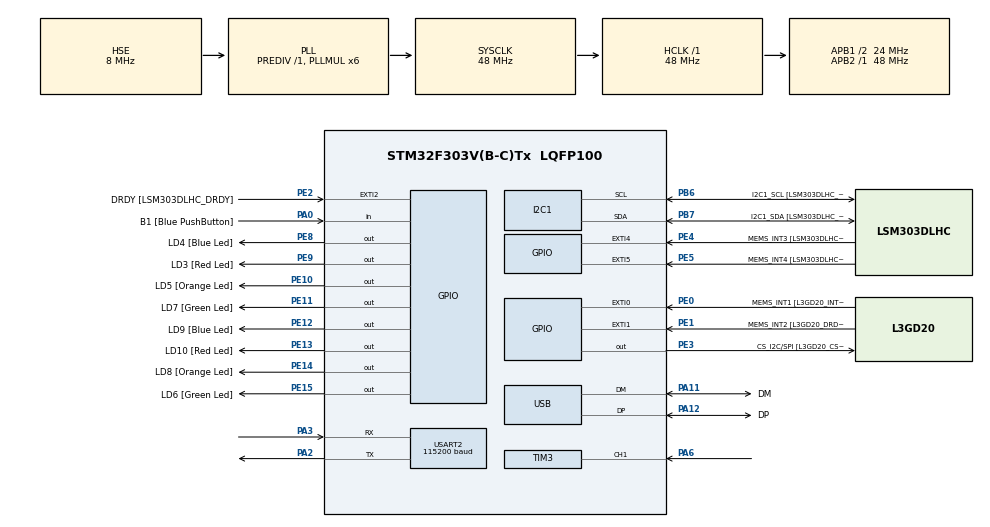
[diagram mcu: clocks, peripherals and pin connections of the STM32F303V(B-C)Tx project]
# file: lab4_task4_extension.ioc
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I2C1.Timing=0x2000090E
I2C1.Timing-I2C=0x2000090E
Mcu.Family=STM32F3
Mcu.Name=STM32F303V(B-C)Tx
Mcu.Package=LQFP100
NVIC.PriorityGroup=NVIC_PRIORITYGROUP_0
NVIC.TIM3_IRQn=true\:0\:0\:false\:false\:true\:true\:true\:true
PA0.GPIO_Label=B1 [Blue PushButton]
PA0.Signal=GPIO_Input
PA11.GPIO_Label=DM
PA11.Mode=Device
PA11.Signal=USB_DM
PA12.GPIO_Label=DP
PA12.Mode=Device
PA12.Signal=USB_DP
PA13.GPIO_Label=SWDIO
PA13.Mode=Serial_Wire
PA13.Signal=SYS_JTMS-SWDIO
PA14.GPIO_Label=SWCLK
PA14.Mode=Serial_Wire
PA14.Signal=SYS_JTCK-SWCLK
PA2.Mode=Asynchronous
PA2.Signal=USART2_TX
PA3.Mode=Asynchronous
PA3.Signal=USART2_RX
PA5.GPIO_Label=SPI1_SCK [L3GD20_SCL/SPC]
PA5.Signal=SPI1_SCK
PA6.Signal=S_TIM3_CH1
PA7.GPIO_Label=SPI1_MISO [L3GD20_SDA/SDI/SDO]
PA7.Signal=SPI1_MOSI
PB3.GPIO_Label=SWO
PB3.Signal=SYS_JTDO-TRACESWO
PB6.GPIO_Label=I2C1_SCL [LSM303DLHC_SCL]
PB6.GPIO_Pu=GPIO_PULLUP
PB6.Mode=I2C
PB6.Signal=I2C1_SCL
PB7.GPIO_Label=I2C1_SDA [LSM303DLHC_SDA]
PB7.GPIO_Pu=GPIO_PULLUP
PB7.Mode=I2C
PB7.Signal=I2C1_SDA
PC14-OSC32_IN.GPIO_Label=OSC32_IN
PC14-OSC32_IN.Signal=RCC_OSC32_IN
PC15-OSC32_OUT.GPIO_Label=OSC32_OUT
PC15-OSC32_OUT.Signal=RCC_OSC32_OUT
PE0.GPIO_Label=MEMS_INT1 [L3GD20_INT1]
PE0.GPIO_ModeDefaultEXTI=GPIO_MODE_EVT_RISING
PE0.Signal=GPXTI0
PE1.GPIO_Label=MEMS_INT2 [L3GD20_DRDY/INT2]
PE1.GPIO_ModeDefaultEXTI=GPIO_MODE_EVT_RISING
PE1.Signal=GPXTI1
PE10.GPIO_Label=LD5 [Orange Led]
PE10.Signal=GPIO_Output
PE11.GPIO_Label=LD7 [Green Led]
PE11.Signal=GPIO_Output
PE12.GPIO_Label=LD9 [Blue Led]
PE12.Signal=GPIO_Output
PE13.GPIO_Label=LD10 [Red Led]
PE13.Signal=GPIO_Output
PE14.GPIO_Label=LD8 [Orange Led]
PE14.Signal=GPIO_Output
PE15.GPIO_Label=LD6 [Green Led]
PE15.Signal=GPIO_Output
PE2.GPIO_Label=DRDY [LSM303DLHC_DRDY]
PE2.GPIO_ModeDefaultEXTI=GPIO_MODE_EVT_RISING
PE2.Signal=GPXTI2
PE3.GPIO_Label=CS_I2C/SPI [L3GD20_CS_I2C/SPI]
PE3.Signal=GPIO_Output
PE4.GPIO_Label=MEMS_INT3 [LSM303DLHC_INT1]
PE4.GPIO_ModeDefaultEXTI=GPIO_MODE_EVT_RISING
PE4.Signal=GPXTI4
PE5.GPIO_Label=MEMS_INT4 [LSM303DLHC_INT2]
PE5.GPIO_ModeDefaultEXTI=GPIO_MODE_EVT_RISING
PE5.Signal=GPXTI5
PE8.GPIO_Label=LD4 [Blue Led]
PE8.Signal=GPIO_Output
PE9.GPIO_Label=LD3 [Red Led]
PE9.Signal=GPIO_Output
PF0-OSC_IN.GPIO_Label=OSC_IN
PF0-OSC_IN.Mode=HSE-External-Clock-Source
PF0-OSC_IN.Signal=RCC_OSC_IN
PF1-OSC_OUT.GPIO_Label=OSC_OUT
PF1-OSC_OUT.Signal=RCC_OSC_OUT
ProjectManager.HeapSize=0x200
ProjectManager.StackSize=0x400
ProjectManager.TargetToolchain=CMake
RCC.AHBFreq_Value=48000000
RCC.APB1CLKDivider=RCC_HCLK_DIV2
RCC.APB1Freq_Value=24000000
RCC.APB1TimFreq_Value=48000000
RCC.APB2Freq_Value=48000000
RCC.APB2TimFreq_Value=48000000
RCC.CortexFreq_Value=48000000
RCC.HCLKFreq_Value=48000000
RCC.HSE_VALUE=8000000
RCC.HSI_VALUE=8000000
RCC.LSE_VALUE=32768
RCC.PLLMUL=RCC_PLL_MUL6
RCC.SYSCLKFreq_VALUE=48000000
RCC.SYSCLKSourceVirtual=RCC_SYSCLKSOURCE_PLLCLK
RCC.USBFreq_Value=48000000
SH.S_TIM3_CH1.0=TIM3_CH1,Input_Capture1_from_TI1
TIM3.Channel-Input_Capture1_from_TI1=TIM_CHANNEL_1
USART2.BaudRate=115200
USART2.VirtualMode-Asynchronous=VM_ASYNC
board=STM32F3DISCOVERY

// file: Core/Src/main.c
/* USER CODE BEGIN Header */
/**
  ******************************************************************************
  * @file           : main.c
  * @brief          : Main program body
  ******************************************************************************
  * @attention
  *
  * Copyright (c) 2025 STMicroelectronics.
  * All rights reserved.
  *
  * This software is licensed under terms that can be found in the LICENSE file
  * in the root directory of this software component.
  * If no LICENSE file comes with this software, it is provided AS-IS.
  *
  ******************************************************************************
  */
/* USER CODE END Header */
#include "main.h"

/* USER CODE BEGIN Includes */
#include <stdio.h>
#include <string.h>
/* USER CODE END Includes */

I2C_HandleTypeDef hi2c1;
TIM_HandleTypeDef htim3;
UART_HandleTypeDef huart2;
PCD_HandleTypeDef hpcd_USB_FS;

/* USER CODE BEGIN PV */
volatile uint32_t ic_last = 0;
volatile uint32_t ic_period_us = 0;
volatile uint32_t ic_freq_hz = 0;

/* <<< CHANGE: mailbox from ISR to main() */
volatile uint32_t g_last_period_us = 0;
volatile uint32_t g_last_freq_hz   = 0;
volatile uint8_t  g_new_sample      = 0;
/* >>> */
/* USER CODE END PV */

void SystemClock_Config(void);
static void MX_GPIO_Init(void);
static void MX_I2C1_Init(void);
static void MX_TIM3_Init(void);
static void MX_USART2_UART_Init(void);
static void MX_USB_PCD_Init(void);

int main(void)
{
  HAL_Init();
  SystemClock_Config();

  MX_GPIO_Init();
  MX_I2C1_Init();
  MX_TIM3_Init();
  MX_USART2_UART_Init();
  MX_USB_PCD_Init();

  /* USER CODE BEGIN 2 */
  HAL_NVIC_SetPriority(TIM3_IRQn, 0, 0);
  HAL_NVIC_EnableIRQ(TIM3_IRQn);
  HAL_TIM_IC_Start_IT(&htim3, TIM_CHANNEL_1);
  /* USER CODE END 2 */

  /* USER CODE BEGIN WHILE */
  /* <<< CHANGE: rate-limited printing in main loop */
  uint32_t last_print_ms = 0;
  while (1)
  {
    uint32_t now_ms = HAL_GetTick();
    if (g_new_sample && (now_ms - last_print_ms) >= 100)  // ~10 lines/sec
    {
      g_new_sample = 0;  // consume the latest sample

      char msg[64];
      int n = snprintf(msg, sizeof(msg),
                       "Freq=%lu Hz (T=%lu us)\r\n",
                       (unsigned long)g_last_freq_hz,
                       (unsigned long)g_last_period_us);
      HAL_UART_Transmit(&huart2, (uint8_t*)msg, (uint16_t)n, HAL_MAX_DELAY);
      last_print_ms = now_ms;
    }
  }
  /* USER CODE END WHILE */
}

void SystemClock_Config(void)
{
  RCC_OscInitTypeDef RCC_OscInitStruct = {0};
  RCC_ClkInitTypeDef RCC_ClkInitStruct = {0};
  RCC_PeriphCLKInitTypeDef PeriphClkInit = {0};

  RCC_OscInitStruct.OscillatorType = RCC_OSCILLATORTYPE_HSI|RCC_OSCILLATORTYPE_HSE;
  RCC_OscInitStruct.HSEState = RCC_HSE_BYPASS;
  RCC_OscInitStruct.HSEPredivValue = RCC_HSE_PREDIV_DIV1;
  RCC_OscInitStruct.HSIState = RCC_HSI_ON;
  RCC_OscInitStruct.HSICalibrationValue = RCC_HSICALIBRATION_DEFAULT;
  RCC_OscInitStruct.PLL.PLLState = RCC_PLL_ON;
  RCC_OscInitStruct.PLL.PLLSource = RCC_PLLSOURCE_HSE;
  RCC_OscInitStruct.PLL.PLLMUL = RCC_PLL_MUL6;  // 8MHz * 6 = 48MHz SYSCLK
  if (HAL_RCC_OscConfig(&RCC_OscInitStruct) != HAL_OK) { Error_Handler(); }

  RCC_ClkInitStruct.ClockType = RCC_CLOCKTYPE_HCLK|RCC_CLOCKTYPE_SYSCLK
                              |RCC_CLOCKTYPE_PCLK1|RCC_CLOCKTYPE_PCLK2;
  RCC_ClkInitStruct.SYSCLKSource = RCC_SYSCLKSOURCE_PLLCLK; // 48 MHz
  RCC_ClkInitStruct.AHBCLKDivider = RCC_SYSCLK_DIV1;        // AHB 48 MHz
  RCC_ClkInitStruct.APB1CLKDivider = RCC_HCLK_DIV2;         // PCLK1 24 MHz
  RCC_ClkInitStruct.APB2CLKDivider = RCC_HCLK_DIV1;         // PCLK2 48 MHz
  if (HAL_RCC_ClockConfig(&RCC_ClkInitStruct, FLASH_LATENCY_1) != HAL_OK) { Error_Handler(); }

  PeriphClkInit.PeriphClockSelection = RCC_PERIPHCLK_USB|RCC_PERIPHCLK_USART2
                                     |RCC_PERIPHCLK_I2C1;
  PeriphClkInit.Usart2ClockSelection = RCC_USART2CLKSOURCE_PCLK1;
  PeriphClkInit.I2c1ClockSelection = RCC_I2C1CLKSOURCE_HSI;
  PeriphClkInit.USBClockSelection = RCC_USBCLKSOURCE_PLL;
  if (HAL_RCCEx_PeriphCLKConfig(&PeriphClkInit) != HAL_OK) { Error_Handler(); }
}

static void MX_I2C1_Init(void)
{
  hi2c1.Instance = I2C1;
  hi2c1.Init.Timing = 0x2000090E;
  hi2c1.Init.OwnAddress1 = 0;
  hi2c1.Init.AddressingMode = I2C_ADDRESSINGMODE_7BIT;
  hi2c1.Init.DualAddressMode = I2C_DUALADDRESS_DISABLE;
  hi2c1.Init.OwnAddress2 = 0;
  hi2c1.Init.OwnAddress2Masks = I2C_OA2_NOMASK;
  hi2c1.Init.GeneralCallMode = I2C_GENERALCALL_DISABLE;
  hi2c1.Init.NoStretchMode = I2C_NOSTRETCH_DISABLE;
  if (HAL_I2C_Init(&hi2c1) != HAL_OK) { Error_Handler(); }

  if (HAL_I2CEx_ConfigAnalogFilter(&hi2c1, I2C_ANALOGFILTER_ENABLE) != HAL_OK) { Error_Handler(); }
  if (HAL_I2CEx_ConfigDigitalFilter(&hi2c1, 0) != HAL_OK) { Error_Handler(); }
}

static void MX_TIM3_Init(void)
{
  TIM_MasterConfigTypeDef sMasterConfig = {0};
  TIM_IC_InitTypeDef sConfigIC = {0};

  htim3.Instance = TIM3;

  /* <<< CHANGE: PSC=47 → TIM3 counter = 1 MHz (with APB1 prescaler /2) */
  htim3.Init.Prescaler = 47;
  htim3.Init.CounterMode = TIM_COUNTERMODE_UP;
  htim3.Init.Period = 65535;
  htim3.Init.ClockDivision = TIM_CLOCKDIVISION_DIV1;
  htim3.Init.AutoReloadPreload = TIM_AUTORELOAD_PRELOAD_DISABLE;
  if (HAL_TIM_IC_Init(&htim3) != HAL_OK) { Error_Handler(); }

  sMasterConfig.MasterOutputTrigger = TIM_TRGO_RESET;
  sMasterConfig.MasterSlaveMode = TIM_MASTERSLAVEMODE_DISABLE;
  if (HAL_TIMEx_MasterConfigSynchronization(&htim3, &sMasterConfig) != HAL_OK) { Error_Handler(); }

  sConfigIC.ICPolarity = TIM_INPUTCHANNELPOLARITY_RISING;
  sConfigIC.ICSelection = TIM_ICSELECTION_DIRECTTI;
  sConfigIC.ICPrescaler = TIM_ICPSC_DIV1;

  /* <<< CHANGE: add small digital filter to clean edges */
  sConfigIC.ICFilter = 8;   // ~N=6 samples (~noise suppression)
  /* >>> */

  if (HAL_TIM_IC_ConfigChannel(&htim3, &sConfigIC, TIM_CHANNEL_1) != HAL_OK) { Error_Handler(); }
}

static void MX_USART2_UART_Init(void)
{
  huart2.Instance = USART2;
  huart2.Init.BaudRate = 115200;
  huart2.Init.WordLength = UART_WORDLENGTH_8B;
  huart2.Init.StopBits = UART_STOPBITS_1;
  huart2.Init.Parity = UART_PARITY_NONE;
  huart2.Init.Mode = UART_MODE_TX_RX;
  huart2.Init.HwFlowCtl = UART_HWCONTROL_NONE;
  huart2.Init.OverSampling = UART_OVERSAMPLING_16;
  huart2.Init.OneBitSampling = UART_ONE_BIT_SAMPLE_DISABLE;
  huart2.AdvancedInit.AdvFeatureInit = UART_ADVFEATURE_NO_INIT;
  if (HAL_UART_Init(&huart2) != HAL_OK) { Error_Handler(); }
}

static void MX_USB_PCD_Init(void)
{
  hpcd_USB_FS.Instance = USB;
  hpcd_USB_FS.Init.dev_endpoints = 8;
  hpcd_USB_FS.Init.speed = PCD_SPEED_FULL;
  hpcd_USB_FS.Init.phy_itface = PCD_PHY_EMBEDDED;
  hpcd_USB_FS.Init.low_power_enable = DISABLE;
  hpcd_USB_FS.Init.battery_charging_enable = DISABLE;
  if (HAL_PCD_Init(&hpcd_USB_FS) != HAL_OK) { Error_Handler(); }
}

static void MX_GPIO_Init(void)
{
  GPIO_InitTypeDef GPIO_InitStruct = {0};

  __HAL_RCC_GPIOE_CLK_ENABLE();
  __HAL_RCC_GPIOC_CLK_ENABLE();
  __HAL_RCC_GPIOF_CLK_ENABLE();
  __HAL_RCC_GPIOA_CLK_ENABLE();
  __HAL_RCC_GPIOB_CLK_ENABLE();

  HAL_GPIO_WritePin(GPIOE, CS_I2C_SPI_Pin|LD4_Pin|LD3_Pin|LD5_Pin
                          |LD7_Pin|LD9_Pin|LD10_Pin|LD8_Pin
                          |LD6_Pin, GPIO_PIN_RESET);

  GPIO_InitStruct.Pin = DRDY_Pin|MEMS_INT3_Pin|MEMS_INT4_Pin|MEMS_INT1_Pin
                          |MEMS_INT2_Pin;
  GPIO_InitStruct.Mode = GPIO_MODE_EVT_RISING;
  GPIO_InitStruct.Pull = GPIO_NOPULL;
  HAL_GPIO_Init(GPIOE, &GPIO_InitStruct);

  GPIO_InitStruct.Pin = CS_I2C_SPI_Pin|LD4_Pin|LD3_Pin|LD5_Pin
                          |LD7_Pin|LD9_Pin|LD10_Pin|LD8_Pin
                          |LD6_Pin;
  GPIO_InitStruct.Mode = GPIO_MODE_OUTPUT_PP;
  GPIO_InitStruct.Pull = GPIO_NOPULL;
  GPIO_InitStruct.Speed = GPIO_SPEED_FREQ_LOW;
  HAL_GPIO_Init(GPIOE, &GPIO_InitStruct);

  GPIO_InitStruct.Pin = B1_Pin;
  GPIO_InitStruct.Mode = GPIO_MODE_INPUT;
  GPIO_InitStruct.Pull = GPIO_NOPULL;
  HAL_GPIO_Init(B1_GPIO_Port, &GPIO_InitStruct);

  GPIO_InitStruct.Pin = SPI1_SCK_Pin|SPI1_MISO_Pin;
  GPIO_InitStruct.Mode = GPIO_MODE_AF_PP;
  GPIO_InitStruct.Pull = GPIO_NOPULL;
  GPIO_InitStruct.Speed = GPIO_SPEED_FREQ_HIGH;
  GPIO_InitStruct.Alternate = GPIO_AF5_SPI1;
  HAL_GPIO_Init(GPIOA, &GPIO_InitStruct);

  /* USER CODE BEGIN MX_GPIO_Init_2 */
  /* <<< CHANGE: PA6 as TIM3_CH1 with a pull-down (works with 0–3.3V square wave) */
  GPIO_InitTypeDef GPIO_InitStruct2 = {0};
  GPIO_InitStruct2.Pin       = GPIO_PIN_6;
  GPIO_InitStruct2.Mode      = GPIO_MODE_AF_PP;
  GPIO_InitStruct2.Pull      = GPIO_PULLDOWN;
  GPIO_InitStruct2.Speed     = GPIO_SPEED_FREQ_LOW;
  GPIO_InitStruct2.Alternate = GPIO_AF2_TIM3;
  HAL_GPIO_Init(GPIOA, &GPIO_InitStruct2);
  /* >>> */
  /* USER CODE END MX_GPIO_Init_2 */
}

/* USER CODE BEGIN 4 */
/* <<< CHANGE: ISR only computes; main() prints later */
void HAL_TIM_IC_CaptureCallback(TIM_HandleTypeDef *htim)
{
  if (htim->Instance == TIM3 && htim->Channel == HAL_TIM_ACTIVE_CHANNEL_1)
  {
    uint32_t now  = HAL_TIM_ReadCapturedValue(htim, TIM_CHANNEL_1);
    uint32_t diff = (now >= ic_last) ? (now - ic_last) : (0x10000u + now - ic_last);
    ic_last = now;
    if (diff == 0) return;

    /* Real TIM3 counter clock:
       APB1 prescaler != 1 → timer clock = 2 * PCLK1 (ref manual rule) */
    uint32_t pclk1  = HAL_RCC_GetPCLK1Freq();                        // 24 MHz
    uint32_t ppre1  = (RCC->CFGR & RCC_CFGR_PPRE1) >> RCC_CFGR_PPRE1_Pos;
    uint32_t timclk = (ppre1 >= 4) ? (pclk1 * 2U) : pclk1;           // → 48 MHz
    uint32_t cntclk = timclk / (htim3.Init.Prescaler + 1U);          // PSC=47 → 1 MHz

    uint32_t period_us = (uint32_t)(((uint64_t)diff * 1000000ULL) / cntclk);
    uint32_t freq_hz   = (uint32_t)(((uint64_t)cntclk) / diff);

    g_last_period_us = period_us;
    g_last_freq_hz   = freq_hz;
    g_new_sample     = 1;
  }
}
/* >>> */
/* USER CODE END 4 */

void Error_Handler(void)
{
  __disable_irq();
  while (1) { }
}
